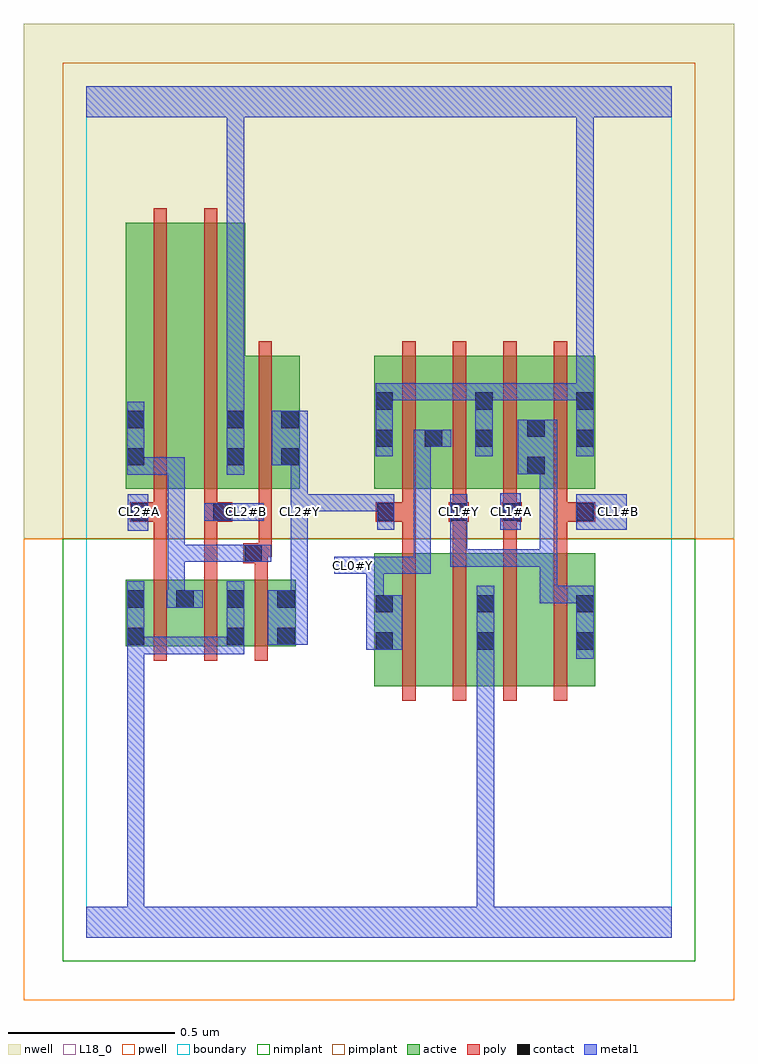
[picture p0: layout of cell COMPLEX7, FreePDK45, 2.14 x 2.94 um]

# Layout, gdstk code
import gdstk
lib = gdstk.Library(unit=1e-6, precision=1e-09)
def R(c, l, rs):  # rectangles x0, y0, x1, y1
    for r in rs: c.add(gdstk.rectangle(r[:2], r[2:], *l))
def A(c, l, x, y, w, h, nx, ny, dx, dy):  # array of equal rectangles
    R(c, l, [(x+i*dx, y+j*dy, x+i*dx+w, y+j*dy+h) for i in range(nx) for j in range(ny)])
active = (1, 0)
pwell = (2, 0)
nwell = (3, 0)
nimplant = (4, 0)
pimplant = (5, 0)
poly = (9, 0)
contact = (10, 0)
metal1 = (11, 0)
L18_0 = (18, 0)
boundary = (235, 0)

complex7 = lib.new_cell('COMPLEX7')
R(complex7, active, [(0.866,0.756,0.926,1.156), (0.866,0.756,1.046,1.156), (1.046,0.756,1.23,1.156), (1.17,0.756,1.35,1.156), (1.17,0.756,1.23,1.034), (1.35,0.756,1.53,1.156), (1.47,0.756,1.53,1.156), (0.118,0.876,0.178,1.076), (0.118,0.876,0.326,1.076), (0.266,0.876,0.326,1.076), (0.266,0.876,0.478,1.076), (0.418,0.876,0.63,1.076), (0.418,0.876,0.478,1.048), (0.57,0.876,0.63,1.076), (0.118,1.35,0.298,2.15), (0.118,1.35,0.178,2.044), (0.298,1.35,0.478,2.15), (0.418,1.35,0.642,1.75), (0.418,1.35,0.478,2.15), (0.582,1.35,0.642,1.644), (0.866,1.35,0.926,1.644), (0.866,1.35,1.074,1.75), (1.014,1.35,1.074,1.75), (1.014,1.35,1.226,1.75), (1.166,1.35,1.382,1.75), (1.322,1.35,1.53,1.75), (1.47,1.35,1.53,1.644), (1.322,1.39,1.382,1.644), (1.166,1.472,1.226,1.644)])
R(complex7, pwell, [(-0.188,-0.188,1.948,1.2)])
R(complex7, nwell, [(-0.188,1.2,1.948,2.748)])
R(complex7, nimplant, [(-0.072,-0.072,1.832,1.2)])
R(complex7, pimplant, [(-0.072,1.2,1.832,2.632)])
A(complex7, poly, 0.95, 0.712, 0.04, 0.488, 4, 2, 0.152, 0.594)
A(complex7, poly, 0.202, 0.832, 0.04, 0.288, 3, 1, 0.152, 0)
A(complex7, poly, 0.95, 1.16, 0.04, 0.13, 4, 1, 0.152, 0)
A(complex7, poly, 0.95, 1.27, 0.04, 0.076, 4, 1, 0.152, 0)
R(complex7, poly, [(0.202,1.08,0.242,1.29), (0.354,1.08,0.394,1.29), (0.506,1.08,0.546,1.166), (0.472,1.126,0.546,1.186), (0.506,1.146,0.546,1.186), (0.506,1.146,0.558,1.186), (0.518,1.146,0.558,1.346), (0.13,1.25,0.242,1.31), (0.354,1.25,0.394,1.29), (0.354,1.25,0.394,1.29), (0.354,1.25,0.438,1.31), (0.87,1.25,0.99,1.31), (0.95,1.25,0.99,1.29), (0.95,1.25,0.99,1.29), (1.09,1.25,1.15,1.31), (1.25,1.25,1.31,1.31), (1.254,1.25,1.294,1.29), (1.254,1.25,1.294,1.29), (1.406,1.25,1.446,1.29), (1.406,1.25,1.446,1.29), (1.406,1.25,1.53,1.31), (0.202,1.27,0.242,1.346), (0.202,1.27,0.242,1.31), (0.202,1.27,0.242,1.31), (0.354,1.27,0.394,1.346), (1.102,1.27,1.142,1.31), (1.102,1.27,1.142,1.31), (0.202,1.306,0.242,2.194), (0.354,1.306,0.394,2.194), (0.518,1.306,0.558,1.794)])
A(complex7, contact, 0.27, 0.992, 0.052, 0.052, 3, 1, 0.152, 0)
R(complex7, contact, [(0.87,0.866,0.922,0.918), (1.174,0.866,1.226,0.918), (1.474,0.866,1.526,0.918), (0.122,0.88,0.174,0.932), (0.422,0.88,0.474,0.932), (0.574,0.88,0.626,0.932), (0.87,0.978,0.922,1.03), (1.174,0.978,1.226,1.03), (1.474,0.978,1.526,1.03), (0.122,0.992,0.174,1.044), (0.476,1.13,0.528,1.182), (0.134,1.254,0.186,1.306), (0.382,1.254,0.434,1.306), (0.874,1.254,0.926,1.306), (1.094,1.254,1.146,1.306), (1.254,1.254,1.306,1.306), (1.474,1.254,1.526,1.306), (1.326,1.394,1.378,1.446), (0.122,1.42,0.174,1.472), (0.422,1.42,0.474,1.472), (0.586,1.42,0.638,1.472), (0.87,1.476,0.922,1.528), (1.018,1.476,1.07,1.528), (1.17,1.476,1.222,1.528), (1.474,1.476,1.526,1.528), (1.326,1.506,1.378,1.558), (0.122,1.532,0.174,1.584), (0.422,1.532,0.474,1.584), (0.586,1.532,0.638,1.584), (0.87,1.588,0.922,1.64), (1.17,1.588,1.222,1.64), (1.474,1.588,1.526,1.64)])
R(complex7, metal1, [(0,0,1.76,0.092), (0.122,0.04,0.174,0.092), (0.122,0.04,0.174,0.092), (0.122,0.04,0.174,0.092), (0.122,0.04,0.174,0.092), (0.122,0.04,0.174,0.092), (0.122,0.04,0.174,0.092), (0.122,0.04,0.174,0.092), (0.122,0.04,0.174,0.092), (0.122,0.04,0.174,0.092), (0.122,0.04,0.174,0.092), (0.122,0.04,0.174,0.092), (0.122,0.04,0.174,0.092), (0.122,0.04,0.174,0.092), (0.122,0.04,0.174,0.092), (0.122,0.04,0.174,0.904), (1.174,0.04,1.226,0.092), (1.174,0.04,1.226,0.092), (1.174,0.04,1.226,0.092), (1.174,0.04,1.226,0.092), (1.174,0.04,1.226,0.092), (1.174,0.04,1.226,0.092), (1.174,0.04,1.226,0.092), (1.174,0.04,1.226,0.092), (1.174,0.04,1.226,0.092), (1.174,0.04,1.226,0.092), (1.174,0.04,1.226,0.89), (1.174,0.838,1.226,0.89), (1.174,0.838,1.226,0.89), (1.174,0.838,1.226,1.058), (1.474,0.838,1.526,1.058), (0.122,0.852,0.174,0.904), (0.122,0.852,0.174,0.904), (0.122,0.852,0.174,0.904), (0.122,0.852,0.174,0.904), (0.122,0.852,0.174,1.072), (0.122,0.852,0.296,0.904), (0.244,0.852,0.296,0.904), (0.244,0.852,0.296,0.904), (0.244,0.852,0.296,0.904), (0.244,0.852,0.474,0.904), (0.422,0.852,0.474,1.072), (0.842,0.866,0.95,1.03), (0.546,0.88,0.666,1.044), (0.842,0.978,0.894,1.146), (0.242,0.992,0.35,1.044), (0.244,0.992,0.296,1.182), (0.614,0.992,0.666,1.278), (1.364,1.006,1.416,1.058), (1.364,1.006,1.526,1.058), (1.364,1.006,1.416,1.168), (1.474,1.006,1.526,1.058), (1.474,1.006,1.526,1.058), (0.746,1.094,0.894,1.146), (0.842,1.094,0.894,1.146), (0.842,1.094,0.894,1.146), (0.842,1.094,1.036,1.146), (0.984,1.094,1.036,1.146), (0.984,1.094,1.036,1.528), (1.094,1.116,1.146,1.278), (1.094,1.116,1.416,1.168), (1.364,1.116,1.416,1.168), (1.364,1.116,1.416,1.168), (1.364,1.116,1.416,1.168), (1.364,1.116,1.416,1.168), (1.364,1.116,1.416,1.168), (1.364,1.116,1.416,1.446), (0.244,1.13,0.296,1.182), (0.244,1.13,0.296,1.182), (0.244,1.13,0.296,1.182), (0.244,1.13,0.46,1.182), (0.244,1.13,0.296,1.444), (0.408,1.13,0.46,1.182), (0.408,1.13,0.5,1.182), (0.448,1.13,0.556,1.182), (0.124,1.224,0.186,1.334), (0.614,1.226,0.666,1.334), (0.874,1.226,0.926,1.334), (1.094,1.226,1.146,1.278), (1.094,1.226,1.146,1.334), (1.244,1.226,1.306,1.336), (1.474,1.226,1.626,1.334), (0.354,1.254,0.534,1.306), (0.614,1.282,0.666,1.334), (0.614,1.282,0.666,1.334), (0.614,1.282,0.666,1.334), (0.614,1.282,0.666,1.334), (0.614,1.282,0.926,1.334), (0.614,1.282,0.666,1.472), (0.122,1.392,0.174,1.444), (0.122,1.392,0.174,1.444), (0.122,1.392,0.174,1.444), (0.122,1.392,0.174,1.444), (0.122,1.392,0.174,1.612), (0.122,1.392,0.296,1.444), (0.244,1.392,0.296,1.444), (0.422,1.392,0.474,1.612), (1.298,1.394,1.416,1.558), (0.558,1.42,0.666,1.584), (0.87,1.448,0.922,1.668), (1.17,1.448,1.222,1.668), (1.474,1.448,1.526,1.668), (0.984,1.476,1.042,1.528), (0.99,1.476,1.042,1.528), (0.99,1.476,1.098,1.528), (0.422,1.56,0.474,1.612), (0.422,1.56,0.474,1.612), (0.422,1.56,0.474,2.52), (0.87,1.616,0.922,1.668), (0.87,1.616,0.922,1.668), (0.87,1.616,1.036,1.668), (0.984,1.616,1.036,1.668), (0.984,1.616,1.036,1.668), (0.984,1.616,1.036,1.668), (0.984,1.616,1.222,1.668), (1.17,1.616,1.332,1.668), (1.28,1.616,1.332,1.668), (1.28,1.616,1.332,1.668), (1.28,1.616,1.332,1.668), (1.28,1.616,1.526,1.668), (1.474,1.616,1.526,1.668), (1.474,1.616,1.526,1.668), (1.474,1.616,1.526,1.668), (1.474,1.616,1.526,1.668), (1.474,1.616,1.526,1.668), (1.474,1.616,1.526,1.668), (1.474,1.616,1.526,1.668), (1.474,1.616,1.526,1.668), (1.474,1.616,1.526,1.668), (1.474,1.616,1.526,1.668), (1.474,1.616,1.526,1.668), (1.474,1.616,1.526,1.668), (1.474,1.616,1.526,1.668), (1.474,1.616,1.526,1.668), (1.474,1.616,1.526,1.668), (1.474,1.616,1.526,1.668), (1.474,1.616,1.526,1.668), (1.474,1.616,1.526,1.668), (1.474,1.616,1.526,2.52), (0,2.468,1.76,2.56), (0.422,2.468,0.474,2.52), (0.422,2.468,0.474,2.52), (0.422,2.468,0.474,2.52), (0.422,2.468,0.474,2.52), (0.422,2.468,0.474,2.52), (0.422,2.468,0.474,2.52)])
R(complex7, L18_0, [(0,0,1.76,0.092), (0.122,0.04,0.174,0.092), (0.122,0.04,0.174,0.092), (0.122,0.04,0.174,0.092), (0.122,0.04,0.174,0.092), (0.122,0.04,0.174,0.092), (0.122,0.04,0.174,0.092), (0.122,0.04,0.174,0.092), (0.122,0.04,0.174,0.092), (0.122,0.04,0.174,0.092), (0.122,0.04,0.174,0.092), (0.122,0.04,0.174,0.092), (0.122,0.04,0.174,0.092), (0.122,0.04,0.174,0.092), (0.122,0.04,0.174,0.092), (0.122,0.04,0.174,0.904), (1.174,0.04,1.226,0.092), (1.174,0.04,1.226,0.092), (1.174,0.04,1.226,0.092), (1.174,0.04,1.226,0.092), (1.174,0.04,1.226,0.092), (1.174,0.04,1.226,0.092), (1.174,0.04,1.226,0.092), (1.174,0.04,1.226,0.092), (1.174,0.04,1.226,0.092), (1.174,0.04,1.226,0.092), (1.174,0.04,1.226,0.89), (1.174,0.838,1.226,0.89), (1.174,0.838,1.226,0.89), (1.174,0.838,1.226,1.058), (1.474,0.838,1.526,1.058), (0.122,0.852,0.174,0.904), (0.122,0.852,0.174,0.904), (0.122,0.852,0.174,0.904), (0.122,0.852,0.174,0.904), (0.122,0.852,0.174,1.072), (0.122,0.852,0.296,0.904), (0.244,0.852,0.296,0.904), (0.244,0.852,0.296,0.904), (0.244,0.852,0.296,0.904), (0.244,0.852,0.474,0.904), (0.422,0.852,0.474,1.072), (0.842,0.866,0.95,1.03), (0.546,0.88,0.666,1.044), (0.842,0.978,0.894,1.146), (0.614,0.992,0.666,1.278), (1.364,1.006,1.416,1.058), (1.364,1.006,1.416,1.168), (1.364,1.006,1.526,1.058), (1.474,1.006,1.526,1.058), (1.474,1.006,1.526,1.058), (0.746,1.094,0.894,1.146), (0.774,1.094,0.826,1.146), (0.842,1.094,0.894,1.146), (0.842,1.094,0.894,1.146), (0.842,1.094,1.036,1.146), (0.984,1.094,1.036,1.146), (0.984,1.094,1.036,1.528), (1.094,1.116,1.146,1.278), (1.094,1.116,1.416,1.168), (1.364,1.116,1.416,1.168), (1.364,1.116,1.416,1.168), (1.364,1.116,1.416,1.168), (1.364,1.116,1.416,1.168), (1.364,1.116,1.416,1.168), (1.364,1.116,1.416,1.446), (0.124,1.224,0.186,1.334), (0.614,1.226,0.666,1.334), (0.874,1.226,0.926,1.334), (1.094,1.226,1.146,1.278), (1.094,1.226,1.146,1.334), (1.244,1.226,1.306,1.336), (1.474,1.226,1.626,1.334), (0.134,1.254,0.186,1.306), (0.354,1.254,0.534,1.306), (0.454,1.254,0.506,1.306), (0.614,1.254,0.666,1.306), (1.094,1.254,1.146,1.306), (1.254,1.254,1.306,1.306), (1.574,1.254,1.626,1.306), (0.614,1.282,0.666,1.334), (0.614,1.282,0.666,1.334), (0.614,1.282,0.666,1.334), (0.614,1.282,0.666,1.334), (0.614,1.282,0.666,1.472), (0.614,1.282,0.926,1.334), (0.422,1.392,0.474,1.612), (1.298,1.394,1.416,1.558), (0.558,1.42,0.666,1.584), (0.87,1.448,0.922,1.668), (1.17,1.448,1.222,1.668), (1.474,1.448,1.526,1.668), (0.984,1.476,1.042,1.528), (0.99,1.476,1.042,1.528), (0.99,1.476,1.098,1.528), (0.422,1.56,0.474,1.612), (0.422,1.56,0.474,1.612), (0.422,1.56,0.474,2.52), (0.87,1.616,0.922,1.668), (0.87,1.616,0.922,1.668), (0.87,1.616,1.036,1.668), (0.984,1.616,1.036,1.668), (0.984,1.616,1.036,1.668), (0.984,1.616,1.036,1.668), (0.984,1.616,1.222,1.668), (1.17,1.616,1.332,1.668), (1.28,1.616,1.332,1.668), (1.28,1.616,1.332,1.668), (1.28,1.616,1.332,1.668), (1.28,1.616,1.526,1.668), (1.474,1.616,1.526,1.668), (1.474,1.616,1.526,1.668), (1.474,1.616,1.526,1.668), (1.474,1.616,1.526,1.668), (1.474,1.616,1.526,1.668), (1.474,1.616,1.526,1.668), (1.474,1.616,1.526,1.668), (1.474,1.616,1.526,1.668), (1.474,1.616,1.526,1.668), (1.474,1.616,1.526,1.668), (1.474,1.616,1.526,1.668), (1.474,1.616,1.526,1.668), (1.474,1.616,1.526,1.668), (1.474,1.616,1.526,1.668), (1.474,1.616,1.526,1.668), (1.474,1.616,1.526,1.668), (1.474,1.616,1.526,1.668), (1.474,1.616,1.526,1.668), (1.474,1.616,1.526,2.52), (0,2.468,1.76,2.56), (0.422,2.468,0.474,2.52), (0.422,2.468,0.474,2.52), (0.422,2.468,0.474,2.52), (0.422,2.468,0.474,2.52), (0.422,2.468,0.474,2.52), (0.422,2.468,0.474,2.52)])
R(complex7, boundary, [(0,0,1.76,2.56)])
complex7.add(gdstk.Label('CL0#Y', (0.8,1.12), layer=11, texttype=0))
complex7.add(gdstk.Label('CL1#A', (1.28,1.28), layer=11, texttype=0))
complex7.add(gdstk.Label('CL1#B', (1.6,1.28), layer=11, texttype=0))
complex7.add(gdstk.Label('CL1#Y', (1.12,1.28), layer=11, texttype=0))
complex7.add(gdstk.Label('CL2#A', (0.16,1.28), layer=11, texttype=0))
complex7.add(gdstk.Label('CL2#B', (0.48,1.28), layer=11, texttype=0))
complex7.add(gdstk.Label('CL2#Y', (0.64,1.28), layer=11, texttype=0))

lib.write_gds('COMPLEX7.gds')
